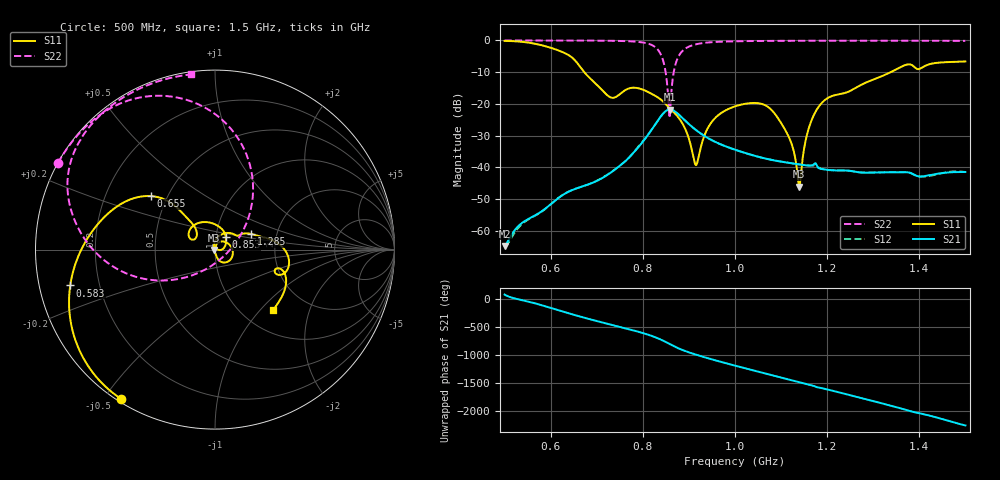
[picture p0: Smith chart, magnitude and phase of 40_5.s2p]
! TOUCHSTONE file generated by CST MICROWAVE STUDIO
! Date and time: Mon Oct 26 12:28:30 2020
! Project name: Scenario_1_Circular_Tissue_out_of_Line.cst
! Parameters = {dy1=330.299; L_HA=400; MT=2.54; Rad_Dielectric=30; Rad_Lower=7.3; Rad_Upper=30; a_HA=580; a_WG=246; b_HA=500; b_WG=121; c_HA=0; c_WG=187; d_feed=85; dx1=866; h_feed=15; h_lower=18; h_upper=40}
! Header version: 2018
! Port assignment regex: !\s*Touchstone port\s*([0-9]+)\s*=\s*(CST MWS port|CST DS port)\s*([0-9]+|Zmin|Zmax)\s*\(\"(.*)\"\)(\s*mode\s*([0-9]+))?.*
! Touchstone port assignment:
! Touchstone port 1 = CST MWS port 1 ("")
! Touchstone port 2 = CST MWS port 2 ("")
# GHz S DB R 50
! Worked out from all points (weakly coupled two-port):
!   1001 points, 500 MHz to 1.5 GHz, reference 50 ohm
!   highest |S21| = -21.77 dB at 859 MHz (marker M1); lowest = -64.7 dB at 500 MHz (marker M2)
!   lowest |S11| = -46.1 dB at 1.139 GHz (marker M3), VSWR 1.01, Z = 49.5 - j0.179 ohm
!   |S11| at or under -10 dB: 672.9 MHz to 1.338 GHz (665.1 MHz wide, 66.2 % of centre)
!   |S22| runs from -24.4 to 0.0 dB; largest |S21 - S12| = 0.0012
!   S11 on the Smith chart (normalised r, x): 500 MHz: 0.01, -0.55; 583 MHz: 0.09, -0.12; 655 MHz: 0.41, +0.31; 853 MHz: 1.11, +0.16; 1.285 GHz: 1.47, +0.27; 1.5 GHz: 1.38, -1.18
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0.5  -0.15 -122.3  -64.74 74.5  -64.81 73.6  -0.01 151.1
0.583  -1.61 -166.1  -53.58 -121.9  -53.67 -121.0  -0.02 145.4
0.655  -6.65 140.1  -46.66 62.6  -46.67 62.5  -0.04 139.5
0.667  -8.92 133.3  -46.07 35.2  -46.11 35.1  -0.04 138.4
0.73  -17.94 143.6  -41.69 -99.9  -41.60 -99.4  -0.11 130.9
0.779  -14.89 136.9  -35.49 157.6  -35.42 156.5  -0.33 120.7
0.834  -18.09 75.2  -24.94 10.8  -24.96 10.7  -3.18 83.9
0.846  -19.52 58.8  -22.74 -35.1  -22.76 -35.2  -7.42 60.2
0.853  -20.63 50.3  -21.97 -64.9  -21.98 -65.0  -14.19 35.1
0.859  -21.50 43.7  -21.77 -91.1  -21.78 -91.1  -22.96 -83.2
0.877  -24.24 21.2  -23.24 -162.7  -23.23 -162.8  -5.16 -168.5
0.915  -39.28 32.3  -28.19 85.0  -28.20 85.1  -1.23 160.3
0.948  -25.97 59.1  -31.30 4.8  -31.30 4.8  -0.56 149.6
1  -20.77 9.1  -34.43 -111.2  -34.43 -111.2  -0.28 140.3
1.082  -22.33 -63.4  -37.72 74.1  -37.70 74.1  -0.14 131.3
1.12  -31.49 -81.4  -38.64 -7.1  -38.64 -7.2  -0.11 128.0
1.139  -46.09 -158.6  -39.05 -47.1  -39.08 -47.1  -0.10 126.4
1.167  -24.85 83.9  -39.37 -103.5  -39.39 -105.8  -0.10 124.2
1.199  -18.36 50.1  -40.73 -172.6  -40.78 -172.4  -0.09 121.7
1.285  -13.22 23.6  -41.66 8.7  -41.67 8.6  -0.08 115.2
1.334  -10.28 11.4  -41.55 -95.5  -41.52 -95.7  -0.09 111.5
1.5  -6.62 -45.8  -41.45 -96.1  -41.45 -96.0  -0.13 97.9
